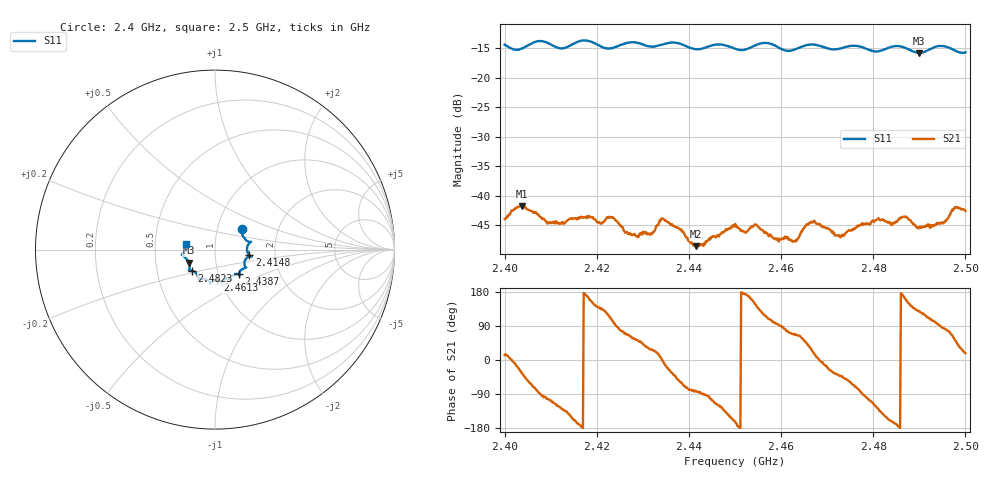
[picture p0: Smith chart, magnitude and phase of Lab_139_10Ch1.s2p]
# Hz S RI R 50
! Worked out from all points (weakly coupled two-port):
!   601 points, 2.4 GHz to 2.5 GHz, reference 50 ohm
!   highest |S21| = -41.71 dB at 2.4037 GHz (marker M1); lowest = -48.6 dB at 2.4415 GHz (marker M2)
!   lowest |S11| = -15.7 dB at 2.4898 GHz (marker M3), VSWR 1.39, Z = 36.9 - j5.5 ohm
!   |S11| at or under -10 dB: start of sweep to end of sweep
!   S12 and S22 are empty: the file has one direction only
!   S11 on the Smith chart (normalised r, x): 2.4 GHz: 1.31, +0.32; 2.4148 GHz: 1.47, -0.10; 2.4387 GHz: 1.25, -0.36; 2.4613 GHz: 0.97, -0.34; 2.4823 GHz: 0.75, -0.18; 2.5 GHz: 0.72, +0.04
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2.4e9  0.1517 0.1169  0.00617 0.00146  0 0  0 0
2.403667e9  0.1669 0.0592  0.00679 -0.00461  0 0  0 0
2.4095e9  0.1934 0.0385  -0.00138 -0.00579  0 0  0 0
2.414833e9  0.1914 -0.0315  -0.00588 -0.0026  0 0  0 0
2.416667e9  0.2033 -0.0397  -0.00664 -0.000429  0 0  0 0
2.423333e9  0.1639 -0.072  -0.00173 0.00628  0 0  0 0
2.428667e9  0.1717 -0.1013  0.00274 0.00361  0 0  0 0
2.433333e9  0.1358 -0.1295  0.00542 0.00152  0 0  0 0
2.438667e9  0.1328 -0.1376  0.00214 -0.00451  0 0  0 0
2.4415e9  0.1064 -0.1393  0.000584 -0.00369  0 0  0 0
2.45e9  0.0726 -0.1616  -0.00551 -0.00171  0 0  0 0
2.456667e9  0.044 -0.1934  -0.00214 0.00434  0 0  0 0
2.461333e9  0.0135 -0.1694  0.00103 0.00425  0 0  0 0
2.463167e9  -0.0119 -0.1749  0.00159 0.00387  0 0  0 0
2.466667e9  -0.027 -0.1904  0.00542 0.00261  0 0  0 0
2.4725e9  -0.0653 -0.1637  0.00358 -0.00296  0 0  0 0
2.482333e9  -0.1279 -0.1178  -0.00508 -0.00342  0 0  0 0
2.483333e9  -0.1376 -0.1166  -0.0055 -0.00233  0 0  0 0
2.486833e9  -0.1435 -0.1098  -0.00629 0.00197  0 0  0 0
2.489833e9  -0.1462 -0.0725  -0.0033 0.00412  0 0  0 0
2.494667e9  -0.1846 -0.028  0.000151 0.00582  0 0  0 0
2.5e9  -0.1618 0.0299  0.00708 0.00228  0 0  0 0
